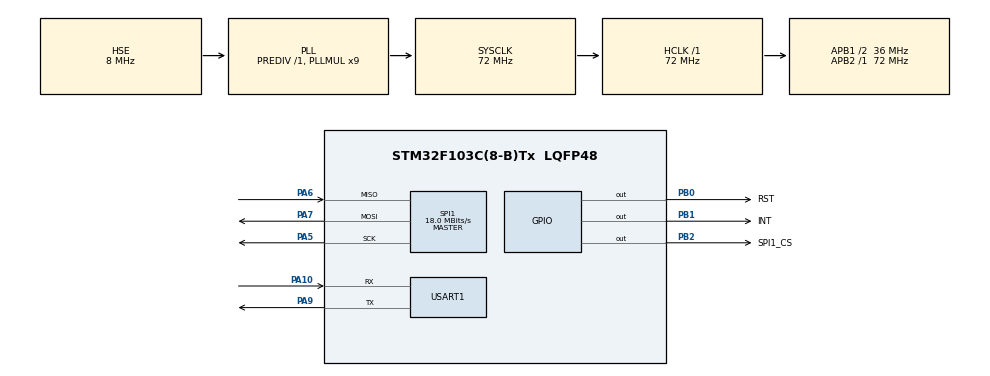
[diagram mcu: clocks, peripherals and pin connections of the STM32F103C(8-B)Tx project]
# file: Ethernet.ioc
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Mcu.Family=STM32F1
Mcu.Name=STM32F103C(8-B)Tx
Mcu.Package=LQFP48
NVIC.PriorityGroup=NVIC_PRIORITYGROUP_4
PA10.Mode=Asynchronous
PA10.Signal=USART1_RX
PA13.Mode=Serial_Wire
PA13.Signal=SYS_JTMS-SWDIO
PA14.Mode=Serial_Wire
PA14.Signal=SYS_JTCK-SWCLK
PA5.Mode=Full_Duplex_Master
PA5.Signal=SPI1_SCK
PA6.Mode=Full_Duplex_Master
PA6.Signal=SPI1_MISO
PA7.Mode=Full_Duplex_Master
PA7.Signal=SPI1_MOSI
PA9.Mode=Asynchronous
PA9.Signal=USART1_TX
PB0.GPIO_Label=RST
PB0.Signal=GPIO_Output
PB1.GPIO_Label=INT
PB1.Signal=GPIO_Output
PB2.GPIO_Label=SPI1_CS
PB2.Signal=GPIO_Output
PD0-OSC_IN.Mode=HSE-External-Oscillator
PD0-OSC_IN.Signal=RCC_OSC_IN
PD1-OSC_OUT.Mode=HSE-External-Oscillator
PD1-OSC_OUT.Signal=RCC_OSC_OUT
ProjectManager.HeapSize=0x200
ProjectManager.StackSize=0x400
ProjectManager.TargetToolchain=STM32CubeIDE
RCC.AHBFreq_Value=72000000
RCC.APB1CLKDivider=RCC_HCLK_DIV2
RCC.APB1Freq_Value=36000000
RCC.APB1TimFreq_Value=72000000
RCC.APB2Freq_Value=72000000
RCC.APB2TimFreq_Value=72000000
RCC.HCLKFreq_Value=72000000
RCC.PLLMUL=RCC_PLL_MUL9
RCC.PLLSourceVirtual=RCC_PLLSOURCE_HSE
RCC.SYSCLKFreq_VALUE=72000000
RCC.SYSCLKSource=RCC_SYSCLKSOURCE_PLLCLK
RCC.USBFreq_Value=72000000
SPI1.BaudRatePrescaler=SPI_BAUDRATEPRESCALER_4
SPI1.CalculateBaudRate=18.0 MBits/s
SPI1.Direction=SPI_DIRECTION_2LINES
SPI1.Mode=SPI_MODE_MASTER
SPI1.VirtualType=VM_MASTER
USART1.VirtualMode=VM_ASYNC
board=custom

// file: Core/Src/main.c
/* USER CODE BEGIN Header */
/**
  ******************************************************************************
  * @file           : main.c
  * @brief          : Main program body
  ******************************************************************************
  * @attention
  *
  * Copyright (c) 2022 STMicroelectronics.
  * All rights reserved.
  *
  * This software is licensed under terms that can be found in the LICENSE file
  * in the root directory of this software component.
  * If no LICENSE file comes with this software, it is provided AS-IS.
  *
  ******************************************************************************
  */
/* USER CODE END Header */
#include "main.h"

/* USER CODE BEGIN Includes */
#include "socket.h"
#include <stdio.h>
#include <string.h>

#define HTTP_SOCKET     0
#define PORT_TCPS		    5000
#define DATA_BUF_SIZE   2048
uint8_t gDATABUF[DATA_BUF_SIZE];
/* USER CODE END Includes */

SPI_HandleTypeDef hspi1;

UART_HandleTypeDef huart1;

/* USER CODE BEGIN PV */
wiz_NetInfo gWIZNETINFO = { .mac = {0x00, 0x08, 0xdc, 0xab, 0xcd, 0xef},
                            .ip = {192, 168, 88, 207},
                            .sn = {255, 255, 255, 0},
                            .gw = {192, 168, 88, 1},
                            .dns = {0, 0, 0, 0},
                            .dhcp = NETINFO_STATIC };

void W5500_Select(void)
{
    HAL_GPIO_WritePin(SPI1_CS_GPIO_Port, SPI1_CS_Pin, GPIO_PIN_RESET);
}

void W5500_Unselect(void)
{
    HAL_GPIO_WritePin(SPI1_CS_GPIO_Port, SPI1_CS_Pin, GPIO_PIN_SET);
}

void W5500_ReadBuff(uint8_t* buff, uint16_t len)
{
    HAL_SPI_Receive(&hspi1, buff, len, HAL_MAX_DELAY);
}

void W5500_WriteBuff(uint8_t* buff, uint16_t len)
{
    HAL_SPI_Transmit(&hspi1, buff, len, HAL_MAX_DELAY);
}

uint8_t W5500_ReadByte(void)
{
    uint8_t byte;
    W5500_ReadBuff(&byte, sizeof(byte));
    return byte;
}

void W5500_WriteByte(uint8_t byte)
{
    W5500_WriteBuff(&byte, sizeof(byte));
}

uint8_t stat;
uint8_t reqnr;
char Message[128];

/* USER CODE END PV */

void SystemClock_Config(void);
static void MX_GPIO_Init(void);
static void MX_SPI1_Init(void);
static void MX_USART1_UART_Init(void);

int main(void)
{

  /* MCU Configuration--------------------------------------------------------*/

  /* Reset of all peripherals, Initializes the Flash interface and the Systick. */
  HAL_Init();

  /* Configure the system clock */
  SystemClock_Config();

  /* Initialize all configured peripherals */
	MX_GPIO_Init();
	MX_SPI1_Init();
	MX_USART1_UART_Init();
	/* USER CODE BEGIN 2 */
	HAL_GPIO_WritePin(RST_GPIO_Port, RST_Pin, GPIO_PIN_RESET);
	HAL_Delay(1);
	HAL_GPIO_WritePin(RST_GPIO_Port, RST_Pin, GPIO_PIN_SET);
	HAL_Delay(1000);

	reg_wizchip_cs_cbfunc(W5500_Select, W5500_Unselect);
	reg_wizchip_spi_cbfunc(W5500_ReadByte, W5500_WriteByte);
	reg_wizchip_spiburst_cbfunc(W5500_ReadBuff, W5500_WriteBuff);

	uint8_t rx_tx_buff_sizes[] = { 2, 2, 2, 2, 2, 2, 2, 2 };

	wizchip_init(rx_tx_buff_sizes, rx_tx_buff_sizes);

	wizchip_setnetinfo(&gWIZNETINFO);

	ctlnetwork(CN_SET_NETINFO, (void*) &gWIZNETINFO);
	HAL_Delay(1000);
  /* USER CODE END 2 */

  /* Infinite loop */
  while (1)
  {

    /* USER CODE BEGIN 3 */
		printf("Creating socket...\r\n");
		stat = socket(HTTP_SOCKET, Sn_MR_TCP, 80, 0);
		if (stat != HTTP_SOCKET)
			printf("socket() failed, code = %d\r\n", stat);
		else
			printf("Socket created, connecting...\r\n");

		stat = listen(HTTP_SOCKET);
		if (stat != SOCK_OK)
			printf("listen() failed, code = %d\r\n", stat);
		else
			printf("listen() OK\r\n");

		while (getSn_SR(HTTP_SOCKET) == SOCK_LISTEN) {
			HAL_Delay(2);
		}

		printf("Input connection\r\n");
		if (getSn_SR(HTTP_SOCKET) != SOCK_ESTABLISHED)
			printf("Error socket status\r\n");

		uint8_t rIP[4];
		getsockopt(HTTP_SOCKET, SO_DESTIP, rIP);
		printf("IP:  %d.%d.%d.%d\r\n", rIP[0], rIP[1], rIP[2], rIP[3]);

		sprintf(Message, "input connection nr - %d", reqnr);

		send(0, (uint8_t*) Message, strlen(Message));

		disconnect(HTTP_SOCKET);

		printf("Closing socket.\r\n");
		close(HTTP_SOCKET);

		HAL_Delay(1000);
		reqnr++;

  }
  /* USER CODE END 3 */
}

void SystemClock_Config(void)
{
  RCC_OscInitTypeDef RCC_OscInitStruct = {0};
  RCC_ClkInitTypeDef RCC_ClkInitStruct = {0};

  /** Initializes the RCC Oscillators according to the specified parameters
  * in the RCC_OscInitTypeDef structure.
  */
  RCC_OscInitStruct.OscillatorType = RCC_OSCILLATORTYPE_HSE;
  RCC_OscInitStruct.HSEState = RCC_HSE_ON;
  RCC_OscInitStruct.HSEPredivValue = RCC_HSE_PREDIV_DIV1;
  RCC_OscInitStruct.HSIState = RCC_HSI_ON;
  RCC_OscInitStruct.PLL.PLLState = RCC_PLL_ON;
  RCC_OscInitStruct.PLL.PLLSource = RCC_PLLSOURCE_HSE;
  RCC_OscInitStruct.PLL.PLLMUL = RCC_PLL_MUL9;
  if (HAL_RCC_OscConfig(&RCC_OscInitStruct) != HAL_OK)
  {
    Error_Handler();
  }

  /** Initializes the CPU, AHB and APB buses clocks
  */
  RCC_ClkInitStruct.ClockType = RCC_CLOCKTYPE_HCLK|RCC_CLOCKTYPE_SYSCLK
                              |RCC_CLOCKTYPE_PCLK1|RCC_CLOCKTYPE_PCLK2;
  RCC_ClkInitStruct.SYSCLKSource = RCC_SYSCLKSOURCE_PLLCLK;
  RCC_ClkInitStruct.AHBCLKDivider = RCC_SYSCLK_DIV1;
  RCC_ClkInitStruct.APB1CLKDivider = RCC_HCLK_DIV2;
  RCC_ClkInitStruct.APB2CLKDivider = RCC_HCLK_DIV1;

  if (HAL_RCC_ClockConfig(&RCC_ClkInitStruct, FLASH_LATENCY_2) != HAL_OK)
  {
    Error_Handler();
  }
}

static void MX_SPI1_Init(void)
{

  /* SPI1 parameter configuration*/
  hspi1.Instance = SPI1;
  hspi1.Init.Mode = SPI_MODE_MASTER;
  hspi1.Init.Direction = SPI_DIRECTION_2LINES;
  hspi1.Init.DataSize = SPI_DATASIZE_8BIT;
  hspi1.Init.CLKPolarity = SPI_POLARITY_LOW;
  hspi1.Init.CLKPhase = SPI_PHASE_1EDGE;
  hspi1.Init.NSS = SPI_NSS_SOFT;
  hspi1.Init.BaudRatePrescaler = SPI_BAUDRATEPRESCALER_4;
  hspi1.Init.FirstBit = SPI_FIRSTBIT_MSB;
  hspi1.Init.TIMode = SPI_TIMODE_DISABLE;
  hspi1.Init.CRCCalculation = SPI_CRCCALCULATION_DISABLE;
  hspi1.Init.CRCPolynomial = 10;
  if (HAL_SPI_Init(&hspi1) != HAL_OK)
  {
    Error_Handler();
  }

}

static void MX_USART1_UART_Init(void)
{

  huart1.Instance = USART1;
  huart1.Init.BaudRate = 115200;
  huart1.Init.WordLength = UART_WORDLENGTH_8B;
  huart1.Init.StopBits = UART_STOPBITS_1;
  huart1.Init.Parity = UART_PARITY_NONE;
  huart1.Init.Mode = UART_MODE_TX_RX;
  huart1.Init.HwFlowCtl = UART_HWCONTROL_NONE;
  huart1.Init.OverSampling = UART_OVERSAMPLING_16;
  if (HAL_UART_Init(&huart1) != HAL_OK)
  {
    Error_Handler();
  }

}

static void MX_GPIO_Init(void)
{
  GPIO_InitTypeDef GPIO_InitStruct = {0};

  /* GPIO Ports Clock Enable */
  __HAL_RCC_GPIOD_CLK_ENABLE();
  __HAL_RCC_GPIOA_CLK_ENABLE();
  __HAL_RCC_GPIOB_CLK_ENABLE();

  /*Configure GPIO pin Output Level */
  HAL_GPIO_WritePin(GPIOB, RST_Pin|INT_Pin|SPI1_CS_Pin, GPIO_PIN_RESET);

  /*Configure GPIO pins : RST_Pin INT_Pin SPI1_CS_Pin */
  GPIO_InitStruct.Pin = RST_Pin|INT_Pin|SPI1_CS_Pin;
  GPIO_InitStruct.Mode = GPIO_MODE_OUTPUT_PP;
  GPIO_InitStruct.Pull = GPIO_NOPULL;
  GPIO_InitStruct.Speed = GPIO_SPEED_FREQ_LOW;
  HAL_GPIO_Init(GPIOB, &GPIO_InitStruct);

}

void Error_Handler(void)
{
  __disable_irq();
  while (1)
  {
  }
}
